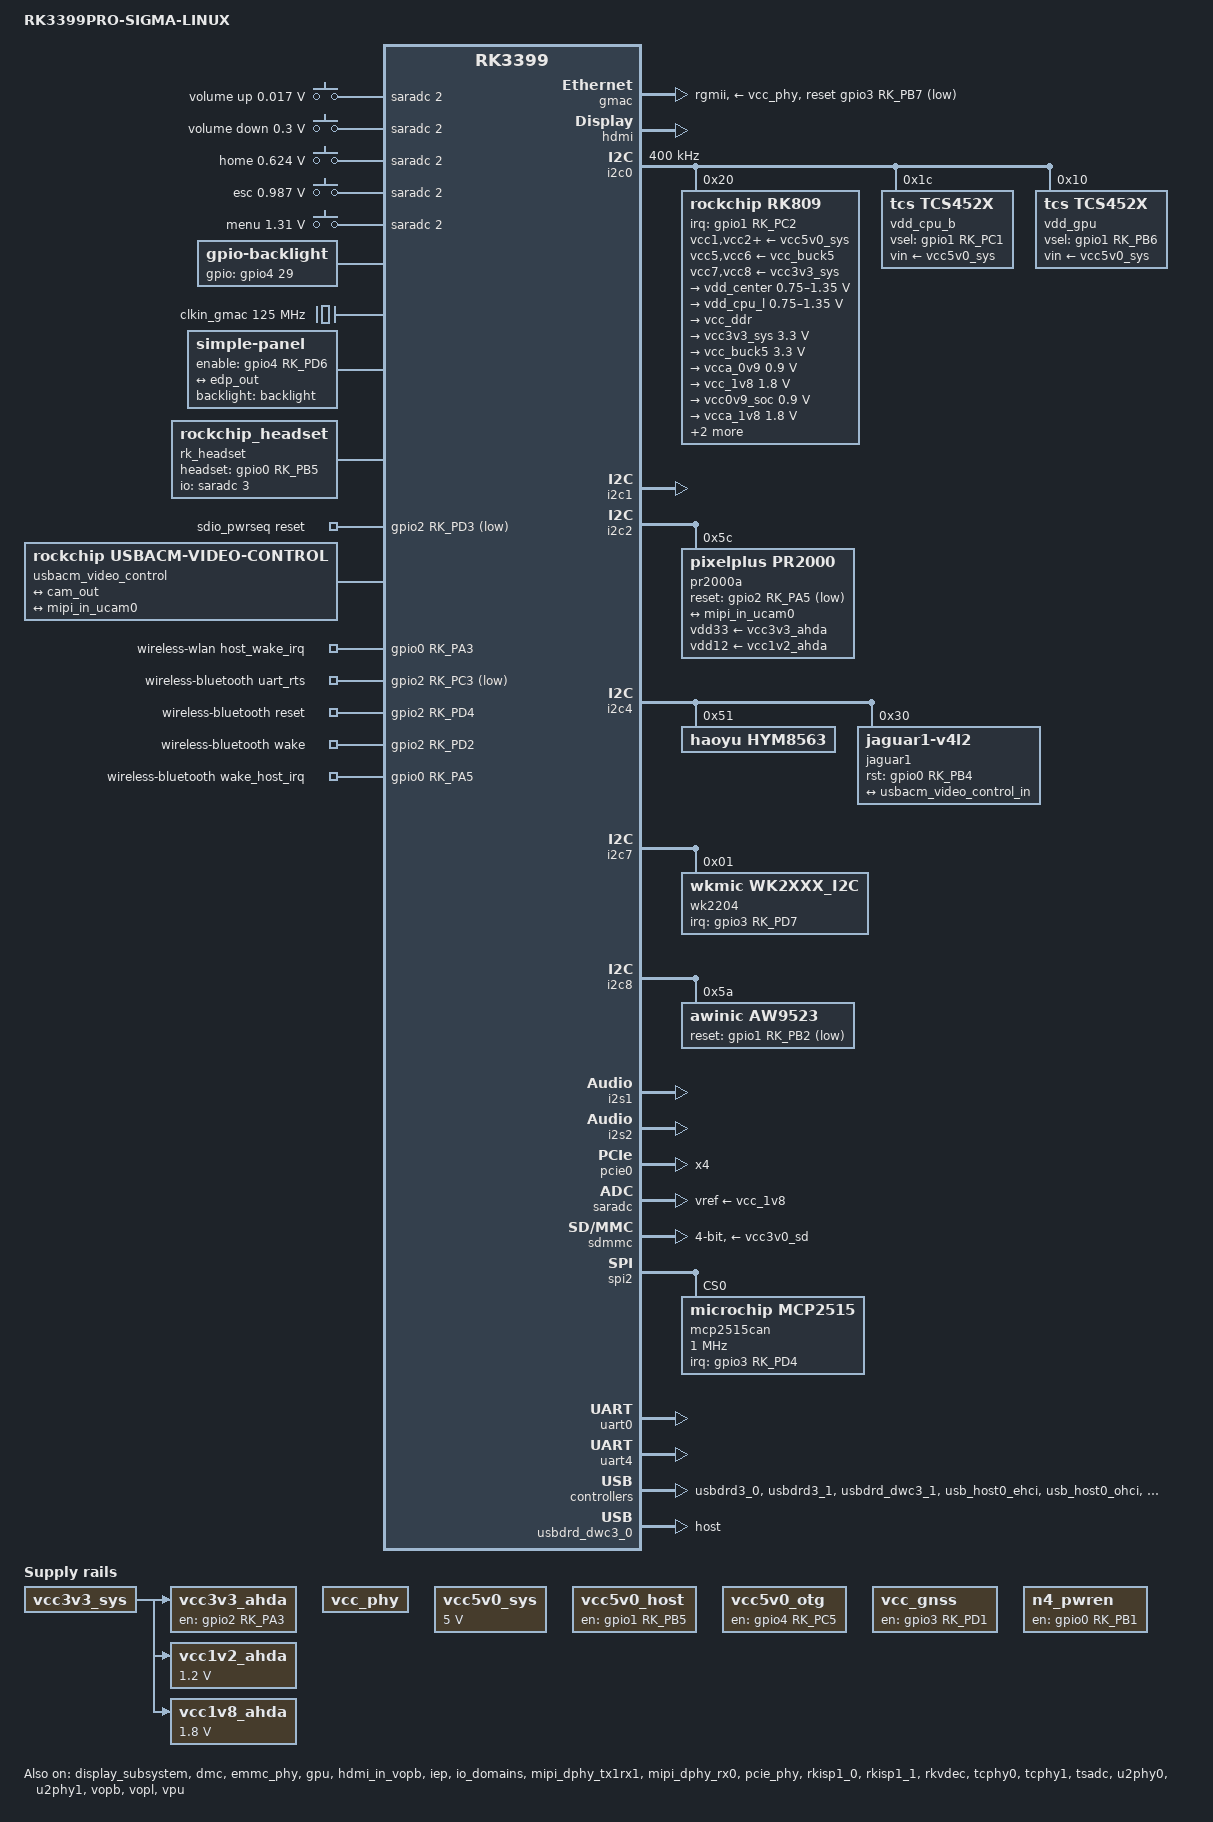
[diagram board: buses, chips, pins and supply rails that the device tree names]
// SPDX-License-Identifier: (GPL-2.0+ OR MIT)
// Copyright (c) 2018 Fuzhou Rockchip Electronics Co., Ltd

/dts-v1/;
#include <dt-bindings/gpio/gpio.h>
#include <dt-bindings/pinctrl/rockchip.h>
#include <dt-bindings/input/input.h>
#include <dt-bindings/display/drm_mipi_dsi.h>
#include <dt-bindings/sensor-dev.h>
#include <dt-bindings/pwm/pwm.h>
#include "rk3399pro.dtsi"
#include "rk3399-linux.dtsi"
#include "rk3399-opp.dtsi"
#include "rk3399-vop-clk-set.dtsi"

/ {
	model = "RK3399PRO-SIGMA-LINUX";
	compatible = "rockchip,rk3399pro-sigma-linux", "rockchip,rk3399pro";

	adc-keys {
		compatible = "adc-keys";
		io-channels = <&saradc 2>;
		io-channel-names = "buttons";
		poll-interval = <100>;
		keyup-threshold-microvolt = <1800000>;

		vol-up-key {
			linux,code = <KEY_VOLUMEUP>;
			label = "volume up";
			press-threshold-microvolt = <17000>;
		};

		vol-down-key {
			linux,code = <KEY_VOLUMEDOWN>;
			label = "volume down";
			press-threshold-microvolt = <300000>;
		};

		home-key {
			linux,code = <KEY_HOME>;
			label = "home";
			press-threshold-microvolt = <624000>;
		};

		esc-key {
			linux,code = <KEY_ESC>;
			label = "esc";
			press-threshold-microvolt = <987000>;
		};

		menu-key {
			linux,code = <KEY_MENU>;
			label = "menu";
			press-threshold-microvolt = <1310000>;
		};
	};

	backlight: backlight {
		compatible = "gpio-backlight";
		status = "okay";
		pinctrl-names = "default";
		pinctrl-0 = <&bl_en>;
		gpios = <&gpio4 29 GPIO_ACTIVE_HIGH>;
		default-on;
	};

	clkin_gmac: external-gmac-clock {
		compatible = "fixed-clock";
		clock-frequency = <125000000>;
		clock-output-names = "clkin_gmac";
		#clock-cells = <0>;
	};

	reserved-memory {
		#address-cells = <2>;
		#size-cells = <2>;

		dma_trans: dma_trans@3c000000 {
			//no-map;
			reg = <0x0 0x3c000000 0x0 0x04000000>;
		};
	};


	fiq_debugger: fiq-debugger {
		compatible = "rockchip,fiq-debugger";
		rockchip,serial-id = <2>;
		rockchip,wake-irq = <0>;
		rockchip,irq-mode-enable = <0>;  /* If enable uart uses irq instead of fiq */
		rockchip,baudrate = <1500000>;  /* Only 115200 and 1500000 */
		pinctrl-names = "default";
		pinctrl-0 = <&uart2c_xfer>;
		interrupts = <GIC_SPI 150 IRQ_TYPE_LEVEL_HIGH 0>;
	};

	panel: panel {
		compatible = "simple-panel";
		backlight = <&backlight>;
		enable-gpios = <&gpio4 RK_PD6 GPIO_ACTIVE_HIGH>;
		prepare-delay-ms = <20>;
		enable-delay-ms = <20>;
		reset-delay-ms = <20>;

		display-timings {
			native-mode = <&timing0>;

			timing0: timing0 {
				clock-frequency = <200000000>;
				hactive = <1536>;
				vactive = <2048>;
				hfront-porch = <12>;
				hsync-len = <16>;
				hback-porch = <48>;
				vfront-porch = <8>;
				vsync-len = <4>;
				vback-porch = <8>;
				hsync-active = <0>;
				vsync-active = <0>;
				de-active = <0>;
				pixelclk-active = <0>;
			};
		};

		ports {
			panel_in: endpoint {
				remote-endpoint = <&edp_out>;
			};
		};
	};

	rk809_sound: rk809-sound {
		compatible = "rockchip,multicodecs-card";
		rockchip,card-name = "rockchip,rk809-codec";
		rockchip,codec-hp-det;
		rockchip,mclk-fs = <256>;
		rockchip,cpu = <&i2s1>;
		rockchip,codec = <&rk809_codec>;
	};

	hdmi_sound: hdmi-sound {
		status = "okay";
		compatible = "simple-audio-card";
		simple-audio-card,format = "i2s";
		simple-audio-card,mclk-fs = <256>;
		simple-audio-card,name = "rockchip,hdmi";

		simple-audio-card,cpu {
			sound-dai = <&i2s2>;
		};
		simple-audio-card,codec {
			sound-dai = <&hdmi>;
		};
	};

	rk_headset {
		compatible = "rockchip_headset";
		headset_gpio = <&gpio0 RK_PB5 GPIO_ACTIVE_HIGH>;
		pinctrl-names = "default";
		pinctrl-0 = <&hp_det>;
		io-channels = <&saradc 3>;
	};

	sdio_pwrseq: sdio-pwrseq {
		compatible = "mmc-pwrseq-simple";
		clocks = <&rk809 1>;
		clock-names = "ext_clock";
		pinctrl-names = "default";
		pinctrl-0 = <&wifi_enable_h>;

		/*
		 * On the module itself this is one of these (depending
		 * on the actual card populated):
		 * - SDIO_RESET_L_WL_REG_ON
		 * - PDN (power down when low)
		 */
		reset-gpios = <&gpio2 RK_PD3 GPIO_ACTIVE_LOW>;
	};

	usbacm_video_control: usbacm-video-control {
		status = "okay";
		compatible = "rockchip,usbacm-video-control";
		rockchip,camera-module-index = <0>;
		rockchip,camera-module-facing = "back";
		rockchip,camera-module-name = "usbacm_video_control";
		rockchip,camera-module-lens-name = "usbacm_video_control";

		ports {
			#address-cells = <1>;
			#size-cells = <0>;

			port@0 {
				reg = <0>;
				#address-cells = <1>;
				#size-cells = <0>;

				usbacm_video_control_in: endpoint@1 {
					reg = <0>;
					remote-endpoint = <&cam_out>;
					data-lanes = <1 2 3 4>;
				};
			};

			port@1 {
				reg = <1>;
				#address-cells = <1>;
				#size-cells = <0>;

				usbacm_video_control_out: endpoint@0 {
					reg = <1>;
					remote-endpoint = <&mipi_in_ucam0>;
					data-lanes = <1 2 3 4>;
				};
			};
		};
	};


	vcc_phy: vcc-phy-regulator {
		compatible = "regulator-fixed";
		regulator-name = "vcc_phy";
		regulator-always-on;
		regulator-boot-on;
	};

	vcc5v0_sys: vccsys {
		compatible = "regulator-fixed";
		regulator-name = "vcc5v0_sys";
		regulator-always-on;
		regulator-boot-on;
		regulator-min-microvolt = <5000000>;
		regulator-max-microvolt = <5000000>;
	};

	vcc5v0_host: vcc5v0-host-regulator {
		compatible = "regulator-fixed";
		enable-active-high;
		gpio = <&gpio1 RK_PB5 GPIO_ACTIVE_HIGH>;
		pinctrl-names = "default";
		pinctrl-0 = <&host_vbus_drv>;
		regulator-name = "vcc5v0_host";
		regulator-always-on;
	};

	vcc5v0_otg: vcc5v0-otg {
		compatible = "regulator-fixed";
		regulator-name = "vcc5v0_otg";
		enable-active-high;
		regulator-always-on;
		gpio = <&gpio4 RK_PC5 GPIO_ACTIVE_HIGH>;
		pinctrl-names = "default";
		pinctrl-0 = <&vcc5v0_otg_en>;
	};

	vcc3v3_ahda: vcc3v3-ahda {
		compatible = "regulator-fixed";
		enable-active-high;
		gpio = <&gpio2 RK_PA3 GPIO_ACTIVE_HIGH>;
		pinctrl-names = "default";
		pinctrl-0 = <&pr2000a_vcc3v3>;
		regulator-name = "vcc3v3_ahda";
		vin-supply = <&vcc3v3_sys>;
	};

	vcc1v2_ahda: vcc1v2-ahda {
		compatible = "regulator-fixed";
		regulator-name = "vcc1v2_ahda";
		regulator-always-on;
		regulator-boot-on;
		regulator-min-microvolt = <1200000>;
		regulator-max-microvolt = <1200000>;
		vin-supply = <&vcc3v3_sys>;
	};

	vcc1v8_ahda: vcc1v8-ahda {
		compatible = "regulator-fixed";
		regulator-name = "vcc1v8_ahda";
		regulator-always-on;
		regulator-boot-on;
		regulator-min-microvolt = <1800000>;
		regulator-max-microvolt = <1800000>;
		vin-supply = <&vcc3v3_sys>;
	};

	vcc_gnss: vcc-gnss {
		compatible = "regulator-fixed";
		enable-active-high;
		regulator-boot-on;
		regulator-always-on;
		gpio = <&gpio3 RK_PD1 GPIO_ACTIVE_HIGH>;
		pinctrl-names = "default";
		pinctrl-0 = <&gnss_pwr_pin>;
		regulator-name = "vcc_gnss";
	};

	n4_pwren: n4-pwren {
		compatible = "regulator-fixed";
		enable-active-high;
		regulator-always-on;
		regulator-boot-on;
		gpio = <&gpio0 RK_PB1 GPIO_ACTIVE_HIGH>;
		pinctrl-names = "default";
		pinctrl-0 = <&n4_pwr_pin>;
		regulator-name = "n4_pwren";
	};

	wireless-wlan {
		compatible = "wlan-platdata";
		rockchip,grf = <&grf>;
		wifi_chip_type = "ap6256";
		sdio_vref = <1800>;
		WIFI,host_wake_irq = <&gpio0 RK_PA3 GPIO_ACTIVE_HIGH>;
		status = "okay";
	};

	wireless-bluetooth {
		compatible = "bluetooth-platdata";
		clocks = <&rk809 1>;
		clock-names = "ext_clock";
		uart_rts_gpios = <&gpio2 RK_PC3 GPIO_ACTIVE_LOW>;
		pinctrl-names = "default", "rts_gpio";
		pinctrl-0 = <&uart0_rts>, <&bt_irq_gpio>;
		pinctrl-1 = <&uart0_gpios>;
		BT,reset_gpio    = <&gpio2 RK_PD4 GPIO_ACTIVE_HIGH>;
		BT,wake_gpio     = <&gpio2 RK_PD2 GPIO_ACTIVE_HIGH>;
		BT,wake_host_irq = <&gpio0 RK_PA5 GPIO_ACTIVE_HIGH>;
		status = "okay";
	};
};

&cpu_l0 {
	cpu-supply = <&vdd_cpu_l>;
};

&cpu_l1 {
	cpu-supply = <&vdd_cpu_l>;
};

&cpu_l2 {
	cpu-supply = <&vdd_cpu_l>;
};

&cpu_l3 {
	cpu-supply = <&vdd_cpu_l>;
};

&cpu_b0 {
	cpu-supply = <&vdd_cpu_b>;
};

&cpu_b1 {
	cpu-supply = <&vdd_cpu_b>;
};

&display_subsystem {
	status = "okay";

	ports = <&vopb_out>, <&vopl_out>;
	logo-memory-region = <&drm_logo>;

	route {
		route_hdmi: route-hdmi {
			status = "disabled";
			logo,uboot = "logo.bmp";
			logo,kernel = "logo_kernel.bmp";
			logo,mode = "center";
			charge_logo,mode = "center";
			connect = <&vopb_out_hdmi>;
		};

		route_dsi: route-dsi {
			status = "disabled";
			logo,uboot = "logo.bmp";
			logo,kernel = "logo_kernel.bmp";
			logo,mode = "center";
			charge_logo,mode = "center";
			connect = <&vopb_out_dsi>;
		};

		route_dsi1: route-dsi1 {
			status = "disabled";
			logo,uboot = "logo.bmp";
			logo,kernel = "logo_kernel.bmp";
			logo,mode = "center";
			charge_logo,mode = "center";
			connect = <&vopl_out_dsi1>;
		};

		route_edp: route-edp {
			status = "disabled";
			logo,uboot = "logo.bmp";
			logo,kernel = "logo_kernel.bmp";
			logo,mode = "center";
			charge_logo,mode = "center";
			connect = <&vopb_out_edp>;
		};
	};
};

&dmc {
	status = "okay";
	center-supply = <&vdd_center>;
};

&edp {
	status = "disabled";
	force-hpd;

	ports {
		port@1 {
			reg = <1>;

			edp_out: endpoint {
				remote-endpoint = <&panel_in>;
			};
		};
	};
};

&edp_in_vopl {
	status = "disabled";
};

&emmc_phy {
	status = "okay";
};

#if 0
&fiq_debugger {
	pinctrl-0 = <&uart2a_xfer>;
};
#endif

&gmac {
	phy-supply = <&vcc_phy>;
	phy-mode = "rgmii";
	clock_in_out = "input";
	snps,reset-gpio = <&gpio3 RK_PB7 GPIO_ACTIVE_LOW>;
	snps,reset-active-low;
	snps,reset-delays-us = <0 10000 50000>;
	assigned-clocks = <&cru SCLK_RMII_SRC>;
	assigned-clock-parents = <&clkin_gmac>;
	pinctrl-names = "default";
	pinctrl-0 = <&rgmii_pins>;
	tx_delay = <0x2b>;
	rx_delay = <0x1f>;
	status = "okay";
};

&gpu {
	status = "okay";
	mali-supply = <&vdd_gpu>;
};

&hdmi {
	status = "okay";
	#address-cells = <1>;
	#size-cells = <0>;
	#sound-dai-cells = <0>;
	ddc-i2c-scl-high-time-ns = <9625>;
	ddc-i2c-scl-low-time-ns = <10000>;
	rockchip,phy-table =
		<74250000  0x8009 0x0004 0x0272>,
		<165000000 0x802b 0x0004 0x0209>,
		<297000000 0x8039 0x0005 0x028d>,
		<594000000 0x8039 0x0000 0x019d>,
		<000000000 0x0000 0x0000 0x0000>;
};

&hdmi_in_vopb {
	status = "okay";
};

&hdmi_in_vopl {
	status = "disabled";
};

&i2c0 {
	status = "okay";
	i2c-scl-rising-time-ns = <180>;
	i2c-scl-falling-time-ns = <30>;
	clock-frequency = <400000>;

	rk809: pmic@20 {
		compatible = "rockchip,rk809";
		reg = <0x20>;
		interrupt-parent = <&gpio1>;
		interrupts = <RK_PC2 IRQ_TYPE_LEVEL_LOW>;
		pinctrl-names = "default", "pmic-sleep",
				"pmic-power-off", "pmic-reset";
		pinctrl-0 = <&pmic_int_l>;
		pinctrl-1 = <&soc_slppin_slp>, <&rk809_slppin_slp>;
		pinctrl-2 = <&soc_slppin_gpio>, <&rk809_slppin_pwrdn>;
		pinctrl-3 = <&soc_slppin_gpio>, <&rk809_slppin_null>;
		rockchip,system-power-controller;
		pmic-reset-func = <0>;
		wakeup-source;
		#clock-cells = <1>;
		clock-output-names = "rk808-clkout1", "rk808-clkout2";

		vcc1-supply = <&vcc5v0_sys>;
		vcc2-supply = <&vcc5v0_sys>;
		vcc3-supply = <&vcc5v0_sys>;
		vcc4-supply = <&vcc5v0_sys>;
		vcc5-supply = <&vcc_buck5>;
		vcc6-supply = <&vcc_buck5>;
		vcc7-supply = <&vcc3v3_sys>;
		vcc8-supply = <&vcc3v3_sys>;
		vcc9-supply = <&vcc5v0_sys>;

		pwrkey {
			status = "okay";
		};

		rtc {
			status = "disabled";
		};

		pinctrl_rk8xx: pinctrl_rk8xx {
			gpio-controller;
			#gpio-cells = <2>;

			rk809_slppin_null: rk809_slppin_null {
				pins = "gpio_slp";
				function = "pin_fun0";
			};

			rk809_slppin_slp: rk809_slppin_slp {
				pins = "gpio_slp";
				function = "pin_fun1";
			};

			rk809_slppin_pwrdn: rk809_slppin_pwrdn {
				pins = "gpio_slp";
				function = "pin_fun2";
			};

			rk809_slppin_rst: rk809_slppin_rst {
				pins = "gpio_slp";
				function = "pin_fun3";
			};
		};

		regulators {
			vdd_center: DCDC_REG1 {
				regulator-always-on;
				regulator-boot-on;
				regulator-min-microvolt = <750000>;
				regulator-max-microvolt = <1350000>;
				regulator-initial-mode = <0x2>;
				regulator-name = "vdd_center";
				regulator-state-mem {
					regulator-off-in-suspend;
					regulator-suspend-microvolt = <900000>;
				};
			};

			vdd_cpu_l: DCDC_REG2 {
				regulator-always-on;
				regulator-boot-on;
				regulator-min-microvolt = <750000>;
				regulator-max-microvolt = <1350000>;
				regulator-ramp-delay = <6001>;
				regulator-initial-mode = <0x2>;
				regulator-name = "vdd_cpu_l";
				regulator-state-mem {
					regulator-off-in-suspend;
				};
			};

			vcc_ddr: DCDC_REG3 {
				regulator-always-on;
				regulator-boot-on;
				regulator-name = "vcc_ddr";
				regulator-initial-mode = <0x2>;
				regulator-state-mem {
					regulator-on-in-suspend;
				};
			};

			vcc3v3_sys: DCDC_REG4 {
				regulator-always-on;
				regulator-boot-on;
				regulator-min-microvolt = <3300000>;
				regulator-max-microvolt = <3300000>;
				regulator-initial-mode = <0x2>;
				regulator-name = "vcc3v3_sys";
				regulator-state-mem {
					regulator-on-in-suspend;
					regulator-suspend-microvolt = <3300000>;
				};
			};

			vcc_buck5: DCDC_REG5 {
				regulator-always-on;
				regulator-boot-on;
				regulator-min-microvolt = <3300000>;
				regulator-max-microvolt = <3300000>;
				regulator-name = "vcc_buck5";
				regulator-state-mem {
					regulator-on-in-suspend;
					regulator-suspend-microvolt = <3300000>;
				};
			};

			vcca_0v9: LDO_REG1 {
				regulator-always-on;
				regulator-boot-on;
				regulator-min-microvolt = <900000>;
				regulator-max-microvolt = <900000>;
				regulator-name = "vcca_0v9";
				regulator-state-mem {
					regulator-off-in-suspend;
				};
			};

			vcc_1v8: LDO_REG2 {
				regulator-always-on;
				regulator-boot-on;
				regulator-min-microvolt = <1800000>;
				regulator-max-microvolt = <1800000>;

				regulator-name = "vcc_1v8";
				regulator-state-mem {
					regulator-on-in-suspend;
					regulator-suspend-microvolt = <1800000>;
				};
			};

			vcc0v9_soc: LDO_REG3 {
				regulator-always-on;
				regulator-boot-on;
				regulator-min-microvolt = <900000>;
				regulator-max-microvolt = <900000>;

				regulator-name = "vcc0v9_soc";
				regulator-state-mem {
					regulator-on-in-suspend;
					regulator-suspend-microvolt = <900000>;
				};
			};

			vcca_1v8: LDO_REG4 {
				regulator-always-on;
				regulator-boot-on;
				regulator-min-microvolt = <1800000>;
				regulator-max-microvolt = <1800000>;

				regulator-name = "vcca_1v8";
				regulator-state-mem {
					regulator-off-in-suspend;
				};
			};

			vcc1v8_dvp: LDO_REG5 {
				regulator-always-on;
				regulator-boot-on;
				regulator-min-microvolt = <1800000>;
				regulator-max-microvolt = <1800000>;

				regulator-name = "vcc1v8_dvp";
				regulator-state-mem {
					regulator-off-in-suspend;
				};
			};

			vcc_1v5: LDO_REG6 {
				regulator-always-on;
				regulator-boot-on;
				regulator-min-microvolt = <1500000>;
				regulator-max-microvolt = <1500000>;

				regulator-name = "vcc_1v5";
				regulator-state-mem {
					regulator-off-in-suspend;
				};
			};

			vccio_3v0: LDO_REG7 {
				regulator-always-on;
				regulator-boot-on;
				regulator-min-microvolt = <3000000>;
				regulator-max-microvolt = <3000000>;

				regulator-name = "vccio_3v0";
				regulator-state-mem {
					regulator-off-in-suspend;
				};
			};

			vccio_sd: LDO_REG8 {
				regulator-always-on;
				regulator-boot-on;
				regulator-min-microvolt = <1800000>;
				regulator-max-microvolt = <3300000>;

				regulator-name = "vccio_sd";
				regulator-state-mem {
					regulator-off-in-suspend;
				};
			};

			vcc3v0_sd: LDO_REG9 {
				regulator-always-on;
				regulator-boot-on;
				regulator-min-microvolt = <3000000>;
				regulator-max-microvolt = <3000000>;

				regulator-name = "vcc3v0_sd";
				regulator-state-mem {
					regulator-off-in-suspend;
				};
			};

			vcc5v0_usb: SWITCH_REG1 {
				regulator-min-microvolt = <5000000>;
				regulator-max-microvolt = <5000000>;

				regulator-name = "vcc5v0_usb";
				regulator-state-mem {
					regulator-on-in-suspend;
					regulator-suspend-microvolt = <5000000>;
				};
			};

			vccio_3v3: SWITCH_REG2 {
				regulator-always-on;
				regulator-boot-on;
				regulator-min-microvolt = <3300000>;
				regulator-max-microvolt = <3300000>;

				regulator-name = "vccio_3v3";
				regulator-state-mem {
					regulator-off-in-suspend;
				};
			};
		};

		rk809_codec: codec {
			#sound-dai-cells = <0>;
			compatible = "rockchip,rk809-codec", "rockchip,rk817-codec";
			clocks = <&cru SCLK_I2S_8CH_OUT>;
			clock-names = "mclk";
			pinctrl-names = "default";
			pinctrl-0 = <&i2s_8ch_mclk>;
			hp-volume = <20>;
			spk-volume = <3>;
			status = "okay";
		};
	};

	vdd_cpu_b: tcs452x@1c {
		compatible = "tcs,tcs452x";
		reg = <0x1c>;
		vin-supply = <&vcc5v0_sys>;
		regulator-compatible = "fan53555-reg";
		pinctrl-0 = <&vsel1_gpio>;
		vsel-gpios = <&gpio1 RK_PC1 GPIO_ACTIVE_HIGH>;
		regulator-name = "vdd_cpu_b";
		regulator-min-microvolt = <712500>;
		regulator-max-microvolt = <1500000>;
		regulator-ramp-delay = <2300>;
		fcs,suspend-voltage-selector = <1>;
		regulator-always-on;
		regulator-boot-on;
		regulator-initial-state = <3>;
		regulator-state-mem {
			regulator-off-in-suspend;
		};
	};

	vdd_gpu: tcs452x@10 {
		compatible = "tcs,tcs452x";
		reg = <0x10>;
		vin-supply = <&vcc5v0_sys>;
		regulator-compatible = "fan53555-reg";
		pinctrl-0 = <&vsel2_gpio>;
		vsel-gpios = <&gpio1 RK_PB6 GPIO_ACTIVE_HIGH>;
		regulator-name = "vdd_gpu";
		regulator-min-microvolt = <735000>;
		regulator-max-microvolt = <1400000>;
		regulator-ramp-delay = <1000>;
		fcs,suspend-voltage-selector = <1>;
		regulator-always-on;
		regulator-boot-on;
		regulator-initial-state = <3>;
		regulator-state-mem {
			regulator-off-in-suspend;
		};
	};
};

&i2c1 {
	status = "okay";
	i2c-scl-rising-time-ns = <140>;
	i2c-scl-falling-time-ns = <30>;

	mpu6500@68 {
		status = "disabled";
		compatible = "invensense,mpu6500";
		reg = <0x68>;
		irq-gpio = <&gpio3 RK_PD2 IRQ_TYPE_EDGE_RISING>;
		mpu-int_config = <0x10>;
		mpu-level_shifter = <0>;
		mpu-orientation = <0 1 0 1 0 0 0 0 1>;
		orientation-x= <1>;
		orientation-y= <0>;
		orientation-z= <0>;
		mpu-debug = <1>;
	};
};


&i2c2 {
	status = "okay";
	i2c-scl-rising-time-ns = <600>;
	i2c-scl-falling-time-ns = <20>;

	pr2000a: pr2000a@5c {
		compatible = "pixelplus,pr2000";
		status = "okay";
		reg = <0x5c>;

		clocks = <&cam27m_a_clk>;
		clock-names = "xvclk";

		vdd33-supply = <&vcc3v3_ahda>;
		vdd12-supply = <&vcc1v2_ahda>;

		reset-gpios = <&gpio2 RK_PA5 GPIO_ACTIVE_LOW>;

		pinctrl-names = "default";
		pinctrl-0 = <&pr2000a_gpios>;

		cam27m_a_clk: camera-27m-a-clock {
			compatible = "fixed-clock";
			clock-frequency = <27000000>;
			clock-output-names = "cam27m_a";
			#clock-cells = <0>;
		};

		port {
			ucam_out0: endpoint {
				remote-endpoint = <&mipi_in_ucam0>;
				clock-lanes = <0>;
				data-lanes = <1 2 3 4>;
			};
		};
	};
};


&i2c4 {
	status = "okay";
	i2c-scl-rising-time-ns = <345>;
	i2c-scl-falling-time-ns = <11>;

	hym8563: hym8563@51 {
		compatible = "haoyu,hym8563";
		reg = <0x51>;
		status = "okay";
	};

	jaguar1: jaguar1@30 {
		compatible = "jaguar1-v4l2";
		status = "okay";
		reg = <0x30>;
		clocks = <&cru SCLK_CIF_OUT>;
		clock-names = "xvclk";
		/*
		 * pd-gpios = <&gpio4 21 GPIO_ACTIVE_HIGH>; // conflict with csi-ctl-gpios
		 * rst-gpios = <&gpio0 12 GPIO_ACTIVE_HIGH>;
		 */

		rst-gpios = <&gpio0 RK_PB4 GPIO_ACTIVE_HIGH>;
		rockchip,camera-module-index = <0>;
		rockchip,camera-module-facing = "back";
		rockchip,camera-module-name = "jaguar1";
		rockchip,camera-module-lens-name = "jaguar1";
		port {
			cam_out: endpoint {
				remote-endpoint = <&usbacm_video_control_in>;
				data-lanes = <1 2 3 4>;
			};
		};
	};

};

&i2c7 {
	status = "okay";
	i2c-scl-rising-time-ns = <600>;
	i2c-scl-falling-time-ns = <20>;

	wk2204@01 {
		compatible = "wkmic,wk2xxx_i2c";
		reg = <0x01>;
		interrupt-parent = <&gpio3>;
		interrupts = <RK_PD7 IRQ_TYPE_LEVEL_LOW>;
		pinctrl-names = "default";
		pinctrl-0 = <&wk2xxx_irq>;
		status = "okay";
	};
};


&i2c8 {
	status = "okay";
	i2c-scl-rising-time-ns = <600>;
	i2c-scl-falling-time-ns = <20>;

	aw9523: aw9523@5a {
		compatible = "awinic,aw9523";
		reg = <0x5a>;
		status = "okay";

		reset-gpios = <&gpio1 RK_PB2 GPIO_ACTIVE_LOW>;

		pinctrl-names = "default";
		pinctrl-0 = <&aw9523_reset>;

		aw9523_gpio: gpio {
			compatible = "awinic,aw9523-gpio";
			gpio-controller;
			#gpio-cells = <2>;
		};
	};
};

&i2s1 {
	status = "okay";
	#sound-dai-cells = <0>;
};

&i2s2 {
	#sound-dai-cells = <0>;
	status = "okay";
};

&iep {
	status = "okay";
};

&iep_mmu {
	status = "okay";
};

&io_domains {
	status = "okay";
	bt656-supply = <&vcc1v8_dvp>;    /* APIO2_VDD bt656_gpio2ab_ms */
	audio-supply = <&vcc_1v8>;       /* APIO5_VDD audio_gpio3d4a_ms */
	sdmmc-supply = <&vccio_sd>;      /* SDMMC0_VDD sdmmc_gpio4b_ms 1v8/3v0 auto*/
	gpio1830-supply = <&vccio_3v0>;  /* APIO4_VDD gpio1833_gpio4cd_ms */
};

&isp0_mmu {
	status = "okay";
};

&isp1_mmu {
	status = "okay";
};

&mipi_dphy_tx1rx1 {
	status = "okay";

	ports {
		#address-cells = <1>;
		#size-cells = <0>;

		port@0 {
			reg = <0>;
			#address-cells = <1>;
			#size-cells = <0>;

			mipi_in_ucam1: endpoint@1 {
				reg = <1>;
				/* Unlinked camera */
				remote-endpoint = <&ucam_out0>;
				data-lanes = <1 2 3 4>;
			};
		};

		port@1 {
			reg = <1>;
			#address-cells = <1>;
			#size-cells = <0>;

			dphy_tx1rx1_out: endpoint@0 {
				reg = <0>;
				remote-endpoint = <&isp1_mipi_in>;
			};
		};
	};
};

&mipi_dphy_rx0 {
	status = "okay";

	ports {
		#address-cells = <1>;
		#size-cells = <0>;

		port@0 {
			reg = <0>;
			#address-cells = <1>;
			#size-cells = <0>;

			mipi_in_ucam0: endpoint@1 {
				reg = <1>;
				remote-endpoint = <&usbacm_video_control_out>;
				data-lanes = <1 2 3 4>;
			};
		};

		port@1 {
			reg = <1>;
			#address-cells = <1>;
			#size-cells = <0>;

			dphy_rx0_out: endpoint@0 {
				reg = <0>;
				remote-endpoint = <&isp0_mipi_in>;
			};
		};
	};
};

&pcie_phy {
	status = "okay";
};

&pcie0 {
	status = "okay";
	/delete-property/ ep-gpios;
	num-lanes = <4>;
	pinctrl-names = "default";
	pinctrl-0 = <&pcie_clkreqn_cpm>;
	max-link-speed = <1>;
	memory-region = <&dma_trans>;
	busno = <0>;
	rockchip,dma_trx_enabled = <1>;
	rockchip,deferred = <1>;
	status = "okay";
};

&pmu_io_domains {
	status = "okay";
	pmu1830-supply = <&vcc_1v8>;	/* PMUIO2_VDD */
};

&pwm0 {
	status = "disabled";
};

&pwm2 {
	status = "disabled";
};

&rkisp1_0 {
	status = "okay";

	port {
		#address-cells = <1>;
		#size-cells = <0>;

		isp0_mipi_in: endpoint@0 {
			reg = <0>;
			remote-endpoint = <&dphy_rx0_out>;
		};
	};
};

&rkisp1_1 {
	status = "okay";

	port {
		#address-cells = <1>;
		#size-cells = <0>;

		isp1_mipi_in: endpoint@0 {
			reg = <0>;
			remote-endpoint = <&dphy_tx1rx1_out>;
		};
	};
};

&rkvdec {
	status = "okay";
	/* 0 means ion, 1 means drm */
	//allocator = <0>;
};

&rockchip_suspend {
	status = "okay";
	rockchip,sleep-debug-en = <1>;
	rockchip,sleep-mode-config = <
		(0
		| RKPM_SLP_ARMPD
		| RKPM_SLP_PERILPPD
		| RKPM_SLP_DDR_RET
		| RKPM_SLP_PLLPD
		| RKPM_SLP_CENTER_PD
		| RKPM_SLP_OSC_DIS
		| RKPM_SLP_AP_PWROFF
		)
	>;
	rockchip,wakeup-config = <RKPM_GPIO_WKUP_EN>;
	rockchip,pwm-regulator-config = <PWM2_REGULATOR_EN>;
	rockchip,power-ctrl =
		<&gpio1 RK_PC1 GPIO_ACTIVE_HIGH>,
		<&gpio1 RK_PB6 GPIO_ACTIVE_HIGH>;
};

&route_edp {
	status = "disabled";
};

&route_hdmi {
	status = "okay";
	connect = <&vopb_out_hdmi>;
};

&saradc {
	status = "okay";
	vref-supply = <&vcc_1v8>;
};

&sdmmc {
	clock-frequency = <150000000>;
	clock-freq-min-max = <400000 150000000>;
	supports-sd;
	bus-width = <4>;
	cap-mmc-highspeed;
	cap-sd-highspeed;
	sd-uhs-sdr12;
	sd-uhs-sdr25;
	sd-uhs-sdr50;
	sd-uhs-sdr104;
	disable-wp;
	num-slots = <1>;
	vmmc-supply = <&vcc3v0_sd>;
	vqmmc-supply = <&vccio_sd>;
	pinctrl-names = "default";
	pinctrl-0 = <&sdmmc_clk &sdmmc_cmd &sdmmc_cd &sdmmc_bus4>;
	status = "okay";
};

&spi2 {
	status = "okay";
	max-freq = <50000000>;

	mcp2515can: can@0 {
		compatible = "microchip,mcp2515";
		pinctrl-names = "default";
		pinctrl-0 = <&mcp2515_int>;
		reg = <0>;
		clocks = <&can_clk>;
		spi-max-frequency = <1000000>;
		interrupt-parent = <&gpio3>;
		interrupts = <RK_PD4 GPIO_ACTIVE_LOW>;

		can_clk: can-clk {
			#clock-cells = <0>;
			compatible = "fixed-clock";
			clock-frequency = <24000000>;
			clock-output-names = "canclk";
		};
	};
};

&tcphy0 {
	status = "okay";
};

&tcphy1 {
	status = "okay";
};

&tsadc {
	rockchip,hw-tshut-mode = <1>; /* tshut mode 0:CRU 1:GPIO */
	rockchip,hw-tshut-polarity = <1>; /* tshut polarity 0:LOW 1:HIGH */
	status = "okay";
};

&uart0 {
	pinctrl-names = "default";
	pinctrl-0 = <&uart0_xfer &uart0_cts>;
	status = "okay";
};

&uart4 {
	status = "okay";
};

&u2phy0 {
	status = "okay";

	u2phy0_otg: otg-port {
		status = "okay";
	};

	u2phy0_host: host-port {
		phy-supply = <&vcc5v0_otg>;
		status = "okay";
	};
};

&u2phy1 {
	status = "okay";

	u2phy1_otg: otg-port {
		status = "okay";
	};

	u2phy1_host: host-port {
		phy-supply = <&vcc5v0_host>;
		status = "okay";
	};
};

&usbdrd3_0 {
	extcon = <&u2phy0>;
	status = "okay";
};

&usbdrd3_1 {
	status = "okay";
};

&usbdrd_dwc3_0 {
	dr_mode = "host";
	status = "okay";
};

&usbdrd_dwc3_1 {
	status = "okay";
};
&usb_host0_ehci {
	status = "okay";
};

&usb_host0_ohci {
	status = "okay";
};

&usb_host1_ehci {
	status = "okay";
};

&usb_host1_ohci {
	status = "okay";
};


&vopb {
	status = "okay";
	assigned-clocks = <&cru DCLK_VOP0_DIV>;
	assigned-clock-parents = <&cru PLL_VPLL>;
};

&vopb_mmu {
	status = "okay";
};

&vopl {
	status = "okay";
	assigned-clocks = <&cru DCLK_VOP1_DIV>;
	assigned-clock-parents = <&cru PLL_CPLL>;
};

&vopl_mmu {
	status = "okay";
};

&vpu {
	status = "okay";

};

&pinctrl {
	pinctrl-names = "default";
	pinctrl-0 = <&npu_ref_clk>;

	aw9523 {
		aw9523_reset: aw9523-reset {
		rockchip,pins =
				<1 RK_PB2 RK_FUNC_GPIO &pcfg_output_high>;	// reset
		};
	};

	gnss {
		gnss_pwr_pin: gnss-pwr-pin {
			rockchip,pins =
				<3 RK_PD1 RK_FUNC_GPIO &pcfg_output_high>;
		};
	};

	backlight-enable {
		bl_en: bl-en {
			rockchip,pins =
				<4 29 RK_FUNC_GPIO &pcfg_pull_none>;
		};
	};

	bq2570 {
		charger_ok_int: charger-ok-int {
			rockchip,pins =
				<1 RK_PA1 0 &pcfg_pull_up>;
			};
	};

	usb {
		host_vbus_drv: host-vbus-drv {
			rockchip,pins =
				<1 RK_PB5 RK_FUNC_GPIO &pcfg_pull_none>;
		};

		vcc5v0_otg_en: vcc5v0-otg-en {
			rockchip,pins =
				<4 RK_PC5 RK_FUNC_GPIO &pcfg_pull_none>;
		};
	};


	fusb30x {
		fusb0_int: fusb0-int {
			rockchip,pins =
				<1 RK_PA2 0 &pcfg_pull_up>;
			};
	};

	pr2000a {
		pr2000a_vcc3v3: pr2000a-vcc3v3 {
			rockchip,pins =
				<2 RK_PA3 RK_FUNC_GPIO &pcfg_output_high>;
		};

		pr2000a_gpios: pr2000a-gpios {
			rockchip,pins =
				<2 RK_PA5 RK_FUNC_GPIO &pcfg_output_high>;	// reset
		};
	};

	n4 {
		n4_pwr_pin: n4-pwr-pin {
			rockchip,pins =
				<0 RK_PB1 RK_FUNC_GPIO &pcfg_output_high>;
		};
	};

	mcp2515 {
		mcp2515_int: mcp2515-int {
			rockchip,pins =
				<3 RK_PD4 RK_FUNC_GPIO &pcfg_pull_up>;		// can_irq
		};
	};

	wk214x {
		wk2xxx_irq: wk2xxx-irq {
			rockchip,pins = <3 RK_PD7 RK_FUNC_GPIO &pcfg_pull_up>;
		};
	};

	headphone {
		hp_det: hp-det {
			rockchip,pins =
				<0 RK_PB5 0 &pcfg_pull_up>;
		};
	};

	lcd_rst {
		lcd_rst_gpio: lcd-rst-gpio {
			rockchip,pins =
				<3 RK_PA4 0 &pcfg_pull_none>;
		};
	};

	npu_clk {
		npu_ref_clk: npu-ref-clk {
		     rockchip,pins =
			     <0 RK_PA2 1 &pcfg_pull_none>;
	     };
	};

	pmic {
		pmic_int_l: pmic-int-l {
			rockchip,pins =
				<1 RK_PC2 0 &pcfg_pull_up>;
		};
		vsel1_gpio: vsel1-gpio {
			rockchip,pins =
				<1 RK_PC1 0 &pcfg_pull_down>;
		};
		vsel2_gpio: vsel2-gpio {
			rockchip,pins =
				<1 RK_PB6 0 &pcfg_pull_down>;
		};

		soc_slppin_gpio: soc-slppin-gpio {
			rockchip,pins =
				<1 RK_PA5 0 &pcfg_output_low>;
		};

		soc_slppin_slp: soc-slppin-slp {
			rockchip,pins =
				<1 RK_PA5 1 &pcfg_pull_down>;
		};

		soc_slppin_rst: soc-slppin-rst {
			rockchip,pins =
				<1 RK_PA5 2 &pcfg_pull_none>;
		};
	};

	sdio-pwrseq {
		wifi_enable_h: wifi-enable-h {
			rockchip,pins =
				<2 RK_PD3 0 &pcfg_pull_none>;
		};
	};

	sdmmc {
		sdmmc_bus1: sdmmc-bus1 {
			rockchip,pins =
				<4 8 RK_FUNC_1 &pcfg_pull_up_10ma>;
		};

		sdmmc_bus4: sdmmc-bus4 {
			rockchip,pins =
				<4 8 RK_FUNC_1 &pcfg_pull_up_10ma>,
				<4 9 RK_FUNC_1 &pcfg_pull_up_10ma>,
				<4 10 RK_FUNC_1 &pcfg_pull_up_10ma>,
				<4 11 RK_FUNC_1 &pcfg_pull_up_10ma>;
		};

		sdmmc_clk: sdmmc-clk {
			rockchip,pins =
				<4 12 RK_FUNC_1 &pcfg_pull_none_10ma>;
		};

		sdmmc_cmd: sdmmc-cmd {
			rockchip,pins =
				<4 13 RK_FUNC_1 &pcfg_pull_up_10ma>;
		};
	};

	tp_irq {
		tp_irq_gpio: tp-irq-gpio {
			rockchip,pins =
				<3 RK_PB0 0 &pcfg_pull_up>;
		};
	};

	wireless-bluetooth {
		bt_irq_gpio: bt-irq-gpio {
			rockchip,pins =
				<0 RK_PA5 0 &pcfg_pull_down>;
		};

		uart0_gpios: uart0-gpios {
			rockchip,pins =
				<2 RK_PC3 0 &pcfg_pull_none>;
		};
	};
};

/* DON'T PUT ANYTHING BELOW HERE.  PUT IT ABOVE PINCTRL */
/* DON'T PUT ANYTHING BELOW HERE.  PUT IT ABOVE PINCTRL */
/* DON'T PUT ANYTHING BELOW HERE.  PUT IT ABOVE PINCTRL */
